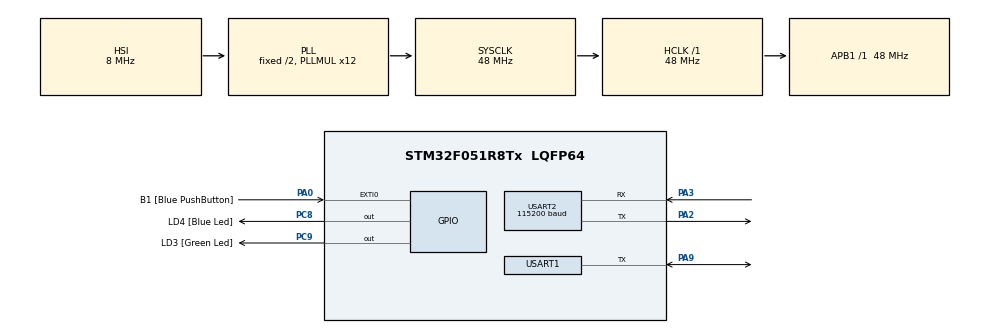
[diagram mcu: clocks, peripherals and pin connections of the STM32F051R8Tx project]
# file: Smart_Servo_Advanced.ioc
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Mcu.Family=STM32F0
Mcu.Name=STM32F051R8Tx
Mcu.Package=LQFP64
NVIC.USART1_IRQn=true\:0\:0\:false\:false\:true\:true\:true\:true
PA0.GPIO_Label=B1 [Blue PushButton]
PA0.GPIO_ModeDefaultEXTI=GPIO_MODE_EVT_RISING
PA0.Signal=GPXTI0
PA13.GPIO_Label=SWDIO
PA13.Mode=Serial_Wire
PA13.Signal=SYS_SWDIO
PA14.GPIO_Label=SWCLK
PA14.Mode=Serial_Wire
PA14.Signal=SYS_SWCLK
PA2.Mode=Asynchronous
PA2.Signal=USART2_TX
PA3.Mode=Asynchronous
PA3.Signal=USART2_RX
PA9.GPIO_ModeDefaultOD=GPIO_MODE_AF_PP
PA9.GPIO_PuPdOD=GPIO_PULLUP
PA9.Mode=Half_duplex(single_wire_mode)
PA9.Signal=USART1_TX
PC8.GPIO_Label=LD4 [Blue Led]
PC8.Signal=GPIO_Output
PC9.GPIO_Label=LD3 [Green Led]
PC9.Signal=GPIO_Output
PF0-OSC_IN.Mode=HSE-External-Oscillator
PF0-OSC_IN.Signal=RCC_OSC_IN
PF1-OSC_OUT.Mode=HSE-External-Oscillator
PF1-OSC_OUT.Signal=RCC_OSC_OUT
ProjectManager.HeapSize=0x200
ProjectManager.StackSize=0x400
ProjectManager.TargetToolchain=STM32CubeIDE
RCC.AHBFreq_Value=48000000
RCC.APB1Freq_Value=48000000
RCC.APB1TimFreq_Value=48000000
RCC.HCLKFreq_Value=48000000
RCC.PLLMUL=RCC_PLL_MUL12
RCC.SYSCLKFreq_VALUE=48000000
RCC.SYSCLKSource=RCC_SYSCLKSOURCE_PLLCLK
USART1.BaudRate=1000000
USART1.VirtualMode-Half_duplex(single_wire_mode)=VM_ASYNC
USART2.BaudRate=115200
USART2.VirtualMode-Asynchronous=VM_ASYNC
board=STM32F0DISCOVERY

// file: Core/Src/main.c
/* USER CODE BEGIN Header */
/**
 ******************************************************************************
 * @file           : main.c
 * @brief          : Main program body
 ******************************************************************************
 * @attention
 *
 * Copyright (c) 2024 STMicroelectronics.
 * All rights reserved.
 *
 * This software is licensed under terms that can be found in the LICENSE file
 * in the root directory of this software component.
 * If no LICENSE file comes with this software, it is provided AS-IS.
 *
 ******************************************************************************
 */
/* USER CODE END Header */
#include "main.h"

/* USER CODE BEGIN Includes */
#include "AxelFlow.h"
#include "AxelFlow_Debug.h"
#include "AxelFlow_Serial.h"

/* USER CODE END Includes */

UART_HandleTypeDef huart1;
UART_HandleTypeDef huart2;

/* USER CODE BEGIN PV */
Status_Packet status;

/* USER CODE END PV */

void SystemClock_Config(void);
static void MX_GPIO_Init(void);
static void MX_USART2_UART_Init(void);
static void MX_USART1_UART_Init(void);

int main(void)
{

  /* MCU Configuration--------------------------------------------------------*/

  /* Reset of all peripherals, Initializes the Flash interface and the Systick. */
  HAL_Init();

  /* Configure the system clock */
  SystemClock_Config();

  /* Initialize all configured peripherals */
  MX_GPIO_Init();
  MX_USART2_UART_Init();
  MX_USART1_UART_Init();

  /* Infinite loop */
  /* USER CODE BEGIN WHILE */
	AxelFlow_debug_init(&huart2);
	UART_HandleTypeDef servo1_UART_Handle = AxelFlow_UART_Init(USART1, 1E6); // Make sure that interrupt is selected.
	Servo servo1 = AxelFlow_servo_init(0x01, &servo1_UART_Handle, false);
	Status_Packet set_status = setCCWLimit(100, servo1);
	print_status(set_status, 0);
	set_status = setCWLimit(0, servo1);
	print_status(set_status, 0);
	HAL_Delay(10);

	while (1)
	{
		status = setPosition(10, servo1);
		print_status(status, 0);
		HAL_Delay(100);
		status = setPosition(50, servo1);
		print_status(status, 0);
		HAL_Delay(100);
    /* USER CODE END WHILE */

	}
}

void SystemClock_Config(void)
{
  RCC_OscInitTypeDef RCC_OscInitStruct = {0};
  RCC_ClkInitTypeDef RCC_ClkInitStruct = {0};
  RCC_PeriphCLKInitTypeDef PeriphClkInit = {0};

  /** Initializes the RCC Oscillators according to the specified parameters
  * in the RCC_OscInitTypeDef structure.
  */
  RCC_OscInitStruct.OscillatorType = RCC_OSCILLATORTYPE_HSI;
  RCC_OscInitStruct.HSIState = RCC_HSI_ON;
  RCC_OscInitStruct.HSICalibrationValue = RCC_HSICALIBRATION_DEFAULT;
  RCC_OscInitStruct.PLL.PLLState = RCC_PLL_ON;
  RCC_OscInitStruct.PLL.PLLSource = RCC_PLLSOURCE_HSI;
  RCC_OscInitStruct.PLL.PLLMUL = RCC_PLL_MUL12;
  RCC_OscInitStruct.PLL.PREDIV = RCC_PREDIV_DIV1;
  if (HAL_RCC_OscConfig(&RCC_OscInitStruct) != HAL_OK)
  {
    Error_Handler();
  }

  /** Initializes the CPU, AHB and APB buses clocks
  */
  RCC_ClkInitStruct.ClockType = RCC_CLOCKTYPE_HCLK|RCC_CLOCKTYPE_SYSCLK
                              |RCC_CLOCKTYPE_PCLK1;
  RCC_ClkInitStruct.SYSCLKSource = RCC_SYSCLKSOURCE_PLLCLK;
  RCC_ClkInitStruct.AHBCLKDivider = RCC_SYSCLK_DIV1;
  RCC_ClkInitStruct.APB1CLKDivider = RCC_HCLK_DIV1;

  if (HAL_RCC_ClockConfig(&RCC_ClkInitStruct, FLASH_LATENCY_1) != HAL_OK)
  {
    Error_Handler();
  }
  PeriphClkInit.PeriphClockSelection = RCC_PERIPHCLK_USART1;
  PeriphClkInit.Usart1ClockSelection = RCC_USART1CLKSOURCE_PCLK1;
  if (HAL_RCCEx_PeriphCLKConfig(&PeriphClkInit) != HAL_OK)
  {
    Error_Handler();
  }
}

static void MX_USART1_UART_Init(void)
{

  huart1.Instance = USART1;
  huart1.Init.BaudRate = 1000000;
  huart1.Init.WordLength = UART_WORDLENGTH_8B;
  huart1.Init.StopBits = UART_STOPBITS_1;
  huart1.Init.Parity = UART_PARITY_NONE;
  huart1.Init.Mode = UART_MODE_TX_RX;
  huart1.Init.HwFlowCtl = UART_HWCONTROL_NONE;
  huart1.Init.OverSampling = UART_OVERSAMPLING_16;
  huart1.Init.OneBitSampling = UART_ONE_BIT_SAMPLE_DISABLE;
  huart1.AdvancedInit.AdvFeatureInit = UART_ADVFEATURE_NO_INIT;
  if (HAL_HalfDuplex_Init(&huart1) != HAL_OK)
  {
    Error_Handler();
  }

}

static void MX_USART2_UART_Init(void)
{

  huart2.Instance = USART2;
  huart2.Init.BaudRate = 115200;
  huart2.Init.WordLength = UART_WORDLENGTH_8B;
  huart2.Init.StopBits = UART_STOPBITS_1;
  huart2.Init.Parity = UART_PARITY_NONE;
  huart2.Init.Mode = UART_MODE_TX_RX;
  huart2.Init.HwFlowCtl = UART_HWCONTROL_NONE;
  huart2.Init.OverSampling = UART_OVERSAMPLING_16;
  huart2.Init.OneBitSampling = UART_ONE_BIT_SAMPLE_DISABLE;
  huart2.AdvancedInit.AdvFeatureInit = UART_ADVFEATURE_NO_INIT;
  if (HAL_UART_Init(&huart2) != HAL_OK)
  {
    Error_Handler();
  }

}

static void MX_GPIO_Init(void)
{
  GPIO_InitTypeDef GPIO_InitStruct = {0};

  /* GPIO Ports Clock Enable */
  __HAL_RCC_GPIOF_CLK_ENABLE();
  __HAL_RCC_GPIOA_CLK_ENABLE();
  __HAL_RCC_GPIOC_CLK_ENABLE();

  /*Configure GPIO pin Output Level */
  HAL_GPIO_WritePin(GPIOC, LD4_Pin|LD3_Pin, GPIO_PIN_RESET);

  /*Configure GPIO pin : B1_Pin */
  GPIO_InitStruct.Pin = B1_Pin;
  GPIO_InitStruct.Mode = GPIO_MODE_EVT_RISING;
  GPIO_InitStruct.Pull = GPIO_NOPULL;
  HAL_GPIO_Init(B1_GPIO_Port, &GPIO_InitStruct);

  /*Configure GPIO pins : LD4_Pin LD3_Pin */
  GPIO_InitStruct.Pin = LD4_Pin|LD3_Pin;
  GPIO_InitStruct.Mode = GPIO_MODE_OUTPUT_PP;
  GPIO_InitStruct.Pull = GPIO_NOPULL;
  GPIO_InitStruct.Speed = GPIO_SPEED_FREQ_LOW;
  HAL_GPIO_Init(GPIOC, &GPIO_InitStruct);

}

void Error_Handler(void)
{
	__disable_irq();
	while (1)
	{
	}
}
